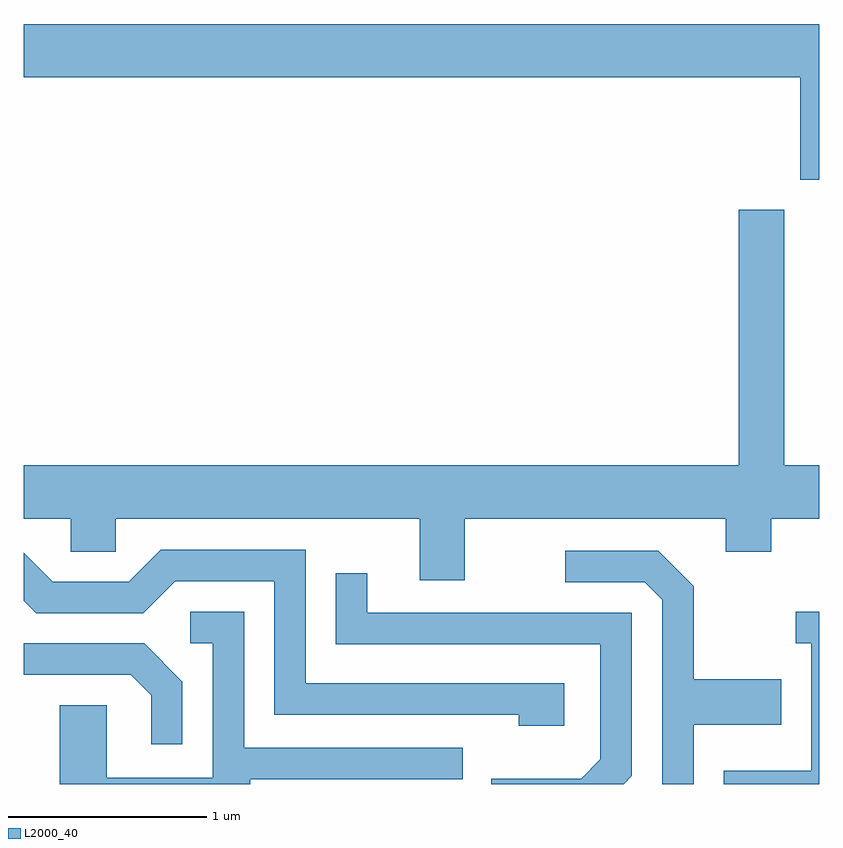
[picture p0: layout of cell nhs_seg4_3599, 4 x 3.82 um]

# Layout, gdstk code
import gdstk
lib = gdstk.Library(unit=1e-6, precision=1e-09)
def P(c, l, *ps):  # polygons
    for p in ps: c.add(gdstk.Polygon(p, *l))
L2000_40 = (2000, 40)

nhs_seg4_3599 = lib.new_cell('nhs_seg4_3599')
P(nhs_seg4_3599, L2000_40, [(293.611,1383.804),(289.611,1383.804),(289.611,1383.536),(293.516,1383.536),(293.516,1383.021),(293.611,1383.021)],
  [(291.829,1381.316),(293.141,1381.316),(293.141,1381.151),(293.369,1381.151),(293.369,1381.316),(293.611,1381.316),(293.611,1381.584),(293.434,1381.584),(293.434,1382.869),(293.206,1382.869),(293.206,1381.584),(289.611,1381.584),(289.611,1381.316),(289.846,1381.316),(289.846,1381.151),(290.074,1381.151),(290.074,1381.316),(291.601,1381.316),(291.601,1381.006),(291.829,1381.006)],
  [(292.329,1380.489),(291.029,1380.489),(291.029,1381.159),(290.299,1381.159),(290.139,1380.999),(289.757,1380.999),(289.611,1381.145),(289.611,1380.904),(289.674,1380.841),(290.212,1380.841),(290.372,1381.001),(290.871,1381.001),(290.871,1380.331),(292.101,1380.331),(292.101,1380.276),(292.329,1380.276)],
  [(292.979,1380.281),(293.419,1380.281),(293.419,1380.509),(292.979,1380.509),(292.979,1380.977),(292.802,1381.154),(292.333,1381.154),(292.333,1380.996),(292.734,1380.996),(292.821,1380.909),(292.821,1379.982),(292.979,1379.982)],
  [(292.669,1380.024),(292.669,1380.844),(291.339,1380.844),(291.339,1381.043),(291.181,1381.043),(291.181,1380.686),(292.511,1380.686),(292.511,1380.107),(292.414,1380.009),(291.961,1380.009),(291.961,1379.982),(292.627,1379.982)],
  [(293.611,1380.849),(293.493,1380.849),(293.493,1380.691),(293.571,1380.691),(293.571,1380.049),(293.131,1380.049),(293.131,1379.982),(293.611,1379.982)],
  [(290.749,1380.006),(291.818,1380.006),(291.818,1380.164),(290.719,1380.164),(290.719,1380.849),(290.448,1380.849),(290.448,1380.691),(290.561,1380.691),(290.561,1380.014),(290.029,1380.014),(290.029,1380.379),(289.791,1380.379),(289.791,1379.982),(290.749,1379.982)],
  [(290.409,1380.497),(290.217,1380.689),(289.611,1380.689),(289.611,1380.531),(290.149,1380.531),(290.251,1380.429),(290.251,1380.183),(290.409,1380.183)])

lib.write_gds('nhs_seg4_3599.gds')
